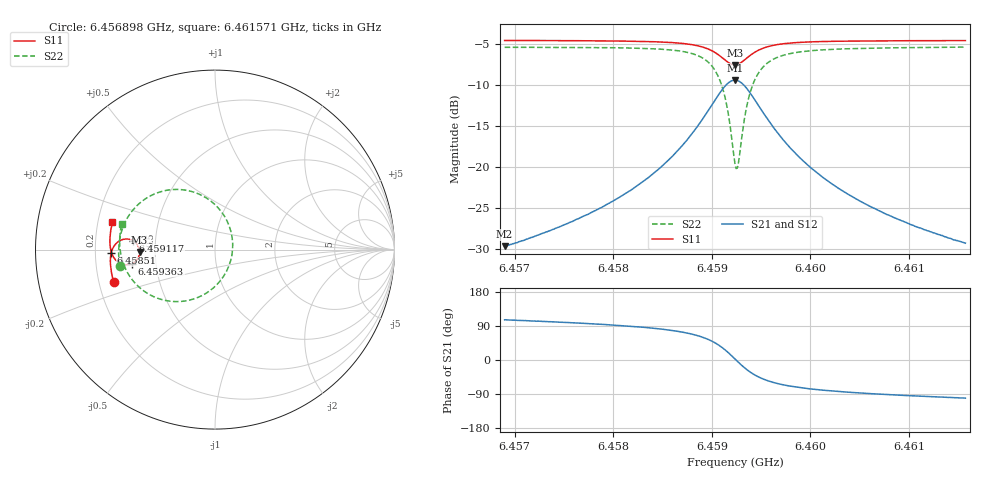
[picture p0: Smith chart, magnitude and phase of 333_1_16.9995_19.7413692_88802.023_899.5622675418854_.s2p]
#  HZ  S  RI  R  50.00
! Rohde & Schwarz Vector Network Analyzer
! Rohde-Schwarz,ZNB20-2Port,1311601062101988,3.16
! Created: UTC 3/20/2024, 11:06:59 PM
! freq[Hz]  re:S11  im:S11  re:S21  im:S21  re:S12  im:S12  re:S22  im:S22
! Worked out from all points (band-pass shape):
!   401 points, 6.456898 GHz to 6.461571 GHz, reference 50 ohm
!   highest |S21| = -9.38 dB at 6.459234 GHz (marker M1); lowest = -29.6 dB at 6.456898 GHz (marker M2)
!   |S21| within 3 dB of the highest: 6.459 GHz to 6.459468 GHz (467.3 kHz wide, 0.00724 % of centre)
!   lowest |S11| = -7.5 dB at 6.459234 GHz (marker M3), VSWR 2.45, Z = 20.4 - j0.641 ohm
!   |S11| at or under -10 dB: nowhere
!   |S22| runs from -20.1 to -5.4 dB; largest |S21 - S12| = 0.013
!   S11 on the Smith chart (normalised r, x): 6.456898 GHz: 0.26, -0.14; 6.45851 GHz: 0.27, -0.02; 6.459117 GHz: 0.37, +0.05; 6.459363 GHz: 0.37, -0.07; 6.461571 GHz: 0.26, +0.12
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6.4568976e9  -0.5648 -0.1783  -0.00916 0.0318  -0.00746 0.0318  -0.5303 -0.091
6.4576804e9  -0.5797 -0.1103  -0.00593 0.0495  -0.00351 0.0489  -0.5368 -0.000869
6.4580776e9  -0.5829 -0.071  -0.00102 0.0667  0.00209 0.0653  -0.5306 0.0599
6.4584632e9  -0.5797 -0.0257  0.0132 0.097  0.0171 0.0945  -0.5052 0.1435
6.4585099e9  -0.5784 -0.0195  0.0164 0.1025  0.0204 0.0995  -0.499 0.1565
6.4587202e9  -0.5663 0.0125  0.0419 0.1339  0.0462 0.1292  -0.4515 0.2275
6.4588721e9  -0.5456 0.039  0.0837 0.1639  0.0872 0.1575  -0.3747 0.2913
6.459024e9  -0.4999 0.0588  0.1743 0.183  0.1754 0.1758  -0.21 0.3352
6.4591175e9  -0.4557 0.049  0.263 0.1529  0.2633 0.1469  -0.0467 0.2867
6.4591642e9  -0.4349 0.0305  0.306 0.1108  0.3074 0.1053  0.0347 0.2123
6.4592343e9  -0.4199 -0.0129  0.3392 0.0157  0.3426 0.00857  0.0985 0.0365
6.459246e9  -0.4204 -0.0208  0.3391 -0.00186  0.3427 -0.00954  0.0983 0.00374
6.4592693e9  -0.4238 -0.0362  0.3337 -0.036  0.3373 -0.0452  0.0876 -0.0604
6.4593278e9  -0.4443 -0.0668  0.2963 -0.1069  0.2977 -0.1192  0.0122 -0.1932
6.4593628e9  -0.4608 -0.078  0.2647 -0.1356  0.2637 -0.1483  -0.0513 -0.2443
6.4594563e9  -0.5037 -0.0846  0.1816 -0.1664  0.1756 -0.1776  -0.2158 -0.2897
6.4596082e9  -0.547 -0.0642  0.0952 -0.1533  0.0869 -0.1593  -0.3797 -0.2419
6.4597717e9  -0.5684 -0.0367  0.051 -0.1259  0.0437 -0.1288  -0.4585 -0.1717
6.4600171e9  -0.5811 -0.00119  0.0223 -0.0953  0.0166 -0.0959  -0.5057 -0.0906
6.4603676e9  -0.5856 0.04  0.00648 -0.069  0.00249 -0.0686  -0.5271 -0.0125
6.4607999e9  -0.5838 0.0831  -0.00119 -0.051  -0.00406 -0.0501  -0.5312 0.0552
6.4615709e9  -0.5716 0.1512  -0.0064 -0.034  -0.008 -0.033  -0.5198 0.1449
